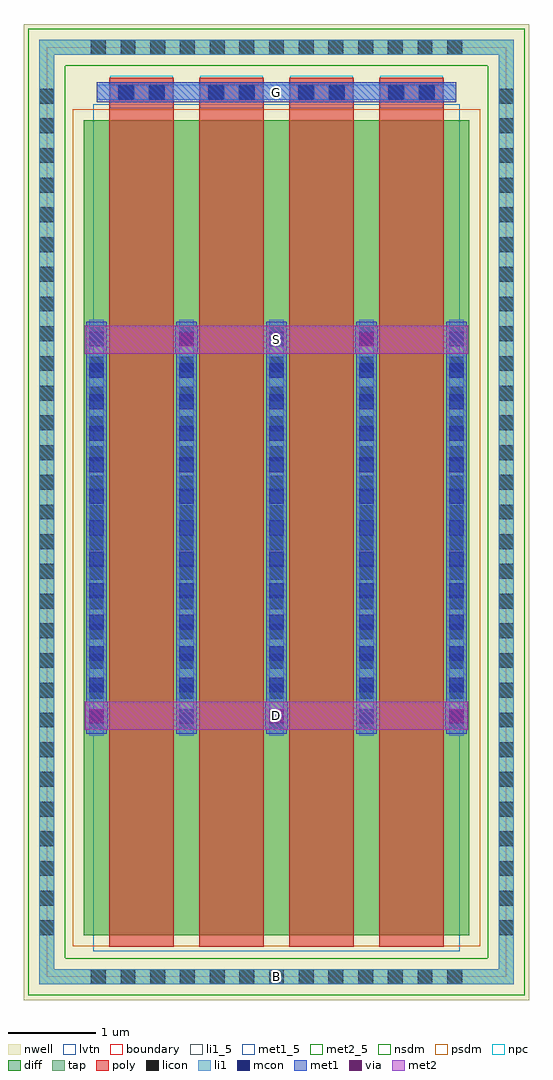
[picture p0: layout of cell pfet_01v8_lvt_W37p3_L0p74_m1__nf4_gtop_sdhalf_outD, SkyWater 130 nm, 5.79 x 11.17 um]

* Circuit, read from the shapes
.subckt pfet_01v8_lvt_W37p3_L0p74_m1__nf4_gtop_sdhalf_outD B D G S
XM1 S G D B sky130_fd_pr__pfet_01v8_lvt w=9.33 l=0.74 m=4
.ends

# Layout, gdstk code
import gdstk
lib = gdstk.Library(unit=1e-6, precision=1e-09)
def R(c, l, rs):  # rectangles x0, y0, x1, y1
    for r in rs: c.add(gdstk.rectangle(r[:2], r[2:], *l))
def A(c, l, x, y, w, h, nx, ny, dx, dy):  # array of equal rectangles
    R(c, l, [(x+i*dx, y+j*dy, x+i*dx+w, y+j*dy+h) for i in range(nx) for j in range(ny)])
nwell = (64, 20)
diff = (65, 20)
tap = (65, 44)
poly = (66, 20)
licon = (66, 44)
li1_5 = (67, 5)
li1 = (67, 20)
mcon = (67, 44)
met1_5 = (68, 5)
met1 = (68, 20)
via = (68, 44)
met2_5 = (69, 5)
met2 = (69, 20)
nsdm = (93, 44)
psdm = (94, 20)
npc = (95, 20)
lvtn = (125, 44)
boundary = (235, 4)

sky130_fd_pr__pfet_01v8_ = lib.new_cell('sky130_fd_pr__pfet_01v8_lvt_ZZ6VCK')
R(sky130_fd_pr__pfet_01v8_, nwell, [(-2.895,-5.585,2.895,5.585)])
R(sky130_fd_pr__pfet_01v8_, diff, [(-2.205,-4.845,2.205,4.485)])
R(sky130_fd_pr__pfet_01v8_, tap, [(-2.715,-5.405,2.715,-5.235), (-2.715,-5.235,-2.545,5.235), (2.545,-5.235,2.715,5.235), (-2.715,5.235,2.715,5.405)])
A(sky130_fd_pr__pfet_01v8_, poly, -1.915, -4.975, 0.74, 9.945, 4, 1, 1.03, 0)
A(sky130_fd_pr__pfet_01v8_, licon, -2.125, -5.405, 0.17, 0.17, 13, 2, 0.34, 10.64)
A(sky130_fd_pr__pfet_01v8_, licon, -2.715, -4.845, 0.17, 0.17, 1, 29, 0, 0.34)
A(sky130_fd_pr__pfet_01v8_, licon, 2.545, -4.845, 0.17, 0.17, 1, 29, 0, 0.34)
A(sky130_fd_pr__pfet_01v8_, licon, -2.145, -2.475, 0.17, 0.17, 5, 14, 1.03, 0.34)
R(sky130_fd_pr__pfet_01v8_, licon, [(-1.8,4.72,-1.63,4.89), (-1.46,4.72,-1.29,4.89), (-0.77,4.72,-0.6,4.89), (-0.43,4.72,-0.26,4.89), (0.26,4.72,0.43,4.89), (0.6,4.72,0.77,4.89), (1.29,4.72,1.46,4.89), (1.63,4.72,1.8,4.89)])
A(sky130_fd_pr__pfet_01v8_, li1, -2.145, -2.56, 0.17, 4.76, 5, 1, 1.03, 0)
R(sky130_fd_pr__pfet_01v8_, li1, [(-2.715,-5.405,2.715,-5.235), (-2.715,-5.235,-2.545,5.235), (2.545,-5.235,2.715,5.235), (-2.06,4.72,2.06,4.89), (-2.715,5.235,2.715,5.405)])
A(sky130_fd_pr__pfet_01v8_, mcon, -2.145, -2.425, 0.17, 0.17, 5, 13, 1.03, 0.36)
R(sky130_fd_pr__pfet_01v8_, mcon, [(-1.81,4.72,-1.64,4.89), (-1.45,4.72,-1.28,4.89), (-0.78,4.72,-0.61,4.89), (-0.42,4.72,-0.25,4.89), (0.25,4.72,0.42,4.89), (0.61,4.72,0.78,4.89), (1.28,4.72,1.45,4.89), (1.64,4.72,1.81,4.89)])
A(sky130_fd_pr__pfet_01v8_, met1, -2.175, -2.54, 0.23, 4.72, 5, 1, 1.03, 0)
A(sky130_fd_pr__pfet_01v8_, met1, -1.895, 4.69, 0.7, 0.03, 4, 2, 1.03, 0.2)
R(sky130_fd_pr__pfet_01v8_, met1, [(-2.06,4.72,2.06,4.89)])
R(sky130_fd_pr__pfet_01v8_, nsdm, [(-2.84,-5.53,2.84,-5.11), (-2.84,-5.11,-2.42,5.11), (2.42,-5.11,2.84,5.11), (-2.84,5.11,2.84,5.53)])
R(sky130_fd_pr__pfet_01v8_, psdm, [(-2.33,-4.97,2.33,4.61)])
A(sky130_fd_pr__pfet_01v8_, npc, -1.9, 4.62, 0.71, 0.37, 4, 1, 1.03, 0)
R(sky130_fd_pr__pfet_01v8_, lvtn, [(-2.095,-5.025,2.095,4.665)])
R(sky130_fd_pr__pfet_01v8_, boundary, [(-2.63,-5.32,2.63,5.32)])
sky130_fd_pr__pfet_01v8_.add(gdstk.Label('B', (0,-5.32), layer=67, texttype=5))
sky130_fd_pr__pfet_01v8_.add(gdstk.Label('D0', (-2.06,-0.18), layer=67, texttype=5))
sky130_fd_pr__pfet_01v8_.add(gdstk.Label('G', (1.545,4.805), layer=67, texttype=5))
sky130_fd_pr__pfet_01v8_.add(gdstk.Label('G', (0.515,4.805), layer=67, texttype=5))
sky130_fd_pr__pfet_01v8_.add(gdstk.Label('G', (-0.515,4.805), layer=67, texttype=5))
sky130_fd_pr__pfet_01v8_.add(gdstk.Label('G', (-1.545,4.805), layer=67, texttype=5))
sky130_fd_pr__pfet_01v8_.add(gdstk.Label('S1', (-1.03,-0.18), layer=67, texttype=5))
sky130_fd_pr__pfet_01v8_.add(gdstk.Label('D2', (0,-0.18), layer=67, texttype=5))
sky130_fd_pr__pfet_01v8_.add(gdstk.Label('S3', (1.03,-0.18), layer=67, texttype=5))

pfet_01v8_lvt_w37p3_l0p7 = lib.new_cell('pfet_01v8_lvt_W37p3_L0p74_m1__nf4_gtop_sdhalf_outD')
R(pfet_01v8_lvt_w37p3_l0p7, li1_5, [(2.545,-0.085,2.715,0.085)])
R(pfet_01v8_lvt_w37p3_l0p7, li1, [(2.545,-0.085,2.715,0.085)])
R(pfet_01v8_lvt_w37p3_l0p7, met1_5, [(0.57,10.01,4.69,10.24)])
A(pfet_01v8_lvt_w37p3_l0p7, met1, 0.44, 2.83, 0.26, 0.32, 3, 1, 2.06, 0)
R(pfet_01v8_lvt_w37p3_l0p7, met1, [(1.47,7.13,1.73,7.45), (3.53,7.13,3.79,7.45), (0.57,10.01,4.69,10.24)])
A(pfet_01v8_lvt_w37p3_l0p7, via, 0.495, 2.915, 0.15, 0.15, 3, 1, 2.06, 0)
R(pfet_01v8_lvt_w37p3_l0p7, via, [(1.525,7.215,1.675,7.365), (3.585,7.215,3.735,7.365)])
R(pfet_01v8_lvt_w37p3_l0p7, met2_5, [(0.435,2.83,4.825,3.15), (0.435,7.13,4.825,7.45)])
R(pfet_01v8_lvt_w37p3_l0p7, met2, [(0.435,2.83,4.825,3.15), (0.435,7.13,4.825,7.45)])
pfet_01v8_lvt_w37p3_l0p7.add(gdstk.Reference(sky130_fd_pr__pfet_01v8_, (2.63,5.32)))
pfet_01v8_lvt_w37p3_l0p7.add(gdstk.Label('S', (2.63,7.29), layer=69, texttype=5))
pfet_01v8_lvt_w37p3_l0p7.add(gdstk.Label('D', (2.63,2.99), layer=69, texttype=5))
pfet_01v8_lvt_w37p3_l0p7.add(gdstk.Label('G', (2.63,10.125), layer=68, texttype=5))
pfet_01v8_lvt_w37p3_l0p7.add(gdstk.Label('B', (2.63,0), layer=67, texttype=5))

lib.write_gds('pfet_01v8_lvt_W37p3_L0p74_m1__nf4_gtop_sdhalf_outD.gds')
